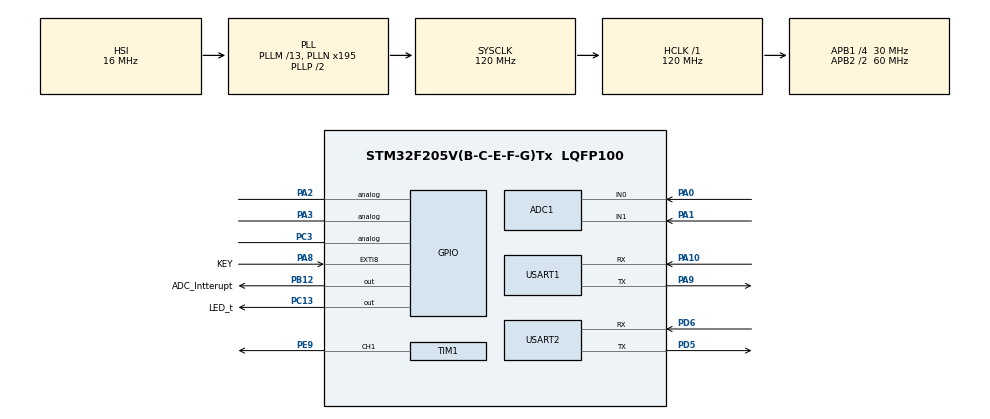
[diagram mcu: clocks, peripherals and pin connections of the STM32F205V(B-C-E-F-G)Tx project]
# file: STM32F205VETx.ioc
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ADC1.Channel-0\#ChannelRegularConversion=ADC_CHANNEL_0
ADC1.Channel-1\#ChannelRegularConversion=ADC_CHANNEL_1
ADC1.Channel-2\#ChannelRegularConversion=ADC_CHANNEL_TEMPSENSOR
ADC1.Channel-3\#ChannelRegularConversion=ADC_CHANNEL_VREFINT
ADC1.ClockPrescaler=ADC_CLOCK_SYNC_PCLK_DIV8
ADC1.ContinuousConvMode=DISABLE
ADC1.DMAContinuousRequests=ENABLE
ADC1.DiscontinuousConvMode=DISABLE
ADC1.ExternalTrigConv=ADC_EXTERNALTRIGCONV_T1_CC3
ADC1.InjNumberOfConversion=0
ADC1.NbrOfConversion=4
ADC1.NbrOfConversionFlag=1
ADC1.Rank-0\#ChannelRegularConversion=1
ADC1.Rank-1\#ChannelRegularConversion=2
ADC1.Rank-2\#ChannelRegularConversion=3
ADC1.Rank-3\#ChannelRegularConversion=4
ADC1.SamplingTime-0\#ChannelRegularConversion=ADC_SAMPLETIME_56CYCLES
ADC1.SamplingTime-1\#ChannelRegularConversion=ADC_SAMPLETIME_56CYCLES
ADC1.SamplingTime-2\#ChannelRegularConversion=ADC_SAMPLETIME_56CYCLES
ADC1.SamplingTime-3\#ChannelRegularConversion=ADC_SAMPLETIME_56CYCLES
ADC1.ScanConvMode=ENABLE
ADC1.master=1
Dma.ADC1.1.Direction=DMA_PERIPH_TO_MEMORY
Dma.ADC1.1.FIFOMode=DMA_FIFOMODE_DISABLE
Dma.ADC1.1.Instance=DMA2_Stream0
Dma.ADC1.1.MemDataAlignment=DMA_MDATAALIGN_WORD
Dma.ADC1.1.MemInc=DMA_MINC_ENABLE
Dma.ADC1.1.Mode=DMA_CIRCULAR
Dma.ADC1.1.PeriphDataAlignment=DMA_PDATAALIGN_WORD
Dma.ADC1.1.PeriphInc=DMA_PINC_DISABLE
Dma.ADC1.1.Priority=DMA_PRIORITY_LOW
Dma.Request0=USART1_RX
Dma.Request1=ADC1
Dma.Request2=USART1_TX
Dma.Request3=USART2_RX
Dma.Request4=USART2_TX
Dma.USART1_RX.0.Direction=DMA_PERIPH_TO_MEMORY
Dma.USART1_RX.0.FIFOMode=DMA_FIFOMODE_DISABLE
Dma.USART1_RX.0.Instance=DMA2_Stream2
Dma.USART1_RX.0.MemDataAlignment=DMA_MDATAALIGN_BYTE
Dma.USART1_RX.0.MemInc=DMA_MINC_ENABLE
Dma.USART1_RX.0.Mode=DMA_NORMAL
Dma.USART1_RX.0.PeriphDataAlignment=DMA_PDATAALIGN_BYTE
Dma.USART1_RX.0.PeriphInc=DMA_PINC_DISABLE
Dma.USART1_RX.0.Priority=DMA_PRIORITY_LOW
Dma.USART1_TX.2.Direction=DMA_MEMORY_TO_PERIPH
Dma.USART1_TX.2.FIFOMode=DMA_FIFOMODE_DISABLE
Dma.USART1_TX.2.Instance=DMA2_Stream7
Dma.USART1_TX.2.MemDataAlignment=DMA_MDATAALIGN_BYTE
Dma.USART1_TX.2.MemInc=DMA_MINC_ENABLE
Dma.USART1_TX.2.Mode=DMA_NORMAL
Dma.USART1_TX.2.PeriphDataAlignment=DMA_PDATAALIGN_BYTE
Dma.USART1_TX.2.PeriphInc=DMA_PINC_DISABLE
Dma.USART1_TX.2.Priority=DMA_PRIORITY_LOW
Dma.USART2_RX.3.Direction=DMA_PERIPH_TO_MEMORY
Dma.USART2_RX.3.FIFOMode=DMA_FIFOMODE_DISABLE
Dma.USART2_RX.3.Instance=DMA1_Stream5
Dma.USART2_RX.3.MemDataAlignment=DMA_MDATAALIGN_BYTE
Dma.USART2_RX.3.MemInc=DMA_MINC_ENABLE
Dma.USART2_RX.3.Mode=DMA_NORMAL
Dma.USART2_RX.3.PeriphDataAlignment=DMA_PDATAALIGN_BYTE
Dma.USART2_RX.3.PeriphInc=DMA_PINC_DISABLE
Dma.USART2_RX.3.Priority=DMA_PRIORITY_LOW
Dma.USART2_TX.4.Direction=DMA_MEMORY_TO_PERIPH
Dma.USART2_TX.4.FIFOMode=DMA_FIFOMODE_DISABLE
Dma.USART2_TX.4.Instance=DMA1_Stream6
Dma.USART2_TX.4.MemDataAlignment=DMA_MDATAALIGN_BYTE
Dma.USART2_TX.4.MemInc=DMA_MINC_ENABLE
Dma.USART2_TX.4.Mode=DMA_NORMAL
Dma.USART2_TX.4.PeriphDataAlignment=DMA_PDATAALIGN_BYTE
Dma.USART2_TX.4.PeriphInc=DMA_PINC_DISABLE
Dma.USART2_TX.4.Priority=DMA_PRIORITY_LOW
FREERTOS.Queues01=CmdQueue,16,uint16_t,0,Dynamic,NULL,NULL
FREERTOS.Tasks01=LEDTask,0,128,StartLEDTask,Default,NULL,Dynamic,NULL,NULL;UartSendTask,0,128,StartUartSendTask,Default,NULL,Dynamic,NULL,NULL;KeyTask,1,128,Key_Task,Default,NULL,Dynamic,NULL,NULL;UartReceiveTask,2,128,StartUartReceiveTask,Default,NULL,Dynamic,NULL,NULL;GetADC,0,128,StartGetADC,Default,NULL,Dynamic,NULL,NULL;PowerControl,2,128,StartPowerControl,Default,NULL,Dynamic,NULL,NULL
Mcu.Family=STM32F2
Mcu.Name=STM32F205V(B-C-E-F-G)Tx
Mcu.Package=LQFP100
NVIC.ADC_IRQn=true\:5\:0\:true\:false\:true\:true\:true\:true
NVIC.DMA1_Stream5_IRQn=true\:5\:0\:false\:false\:true\:true\:false\:true
NVIC.DMA1_Stream6_IRQn=true\:5\:0\:false\:false\:true\:true\:false\:true
NVIC.DMA2_Stream0_IRQn=true\:5\:0\:false\:false\:true\:true\:false\:true
NVIC.DMA2_Stream2_IRQn=true\:5\:0\:false\:false\:true\:true\:false\:true
NVIC.DMA2_Stream7_IRQn=true\:5\:0\:false\:false\:true\:true\:false\:true
NVIC.EXTI9_5_IRQn=true\:5\:0\:false\:false\:true\:true\:true\:true
NVIC.PriorityGroup=NVIC_PRIORITYGROUP_4
NVIC.TIM2_IRQn=true\:0\:0\:false\:false\:true\:false\:false\:true
NVIC.TimeBase=TIM2_IRQn
NVIC.TimeBaseIP=TIM2
NVIC.USART1_IRQn=true\:5\:0\:false\:false\:true\:true\:true\:true
NVIC.USART2_IRQn=true\:5\:0\:false\:false\:true\:true\:true\:true
PA0-WKUP.Signal=SharedAnalog_PA0
PA1.Signal=SharedAnalog_PA1
PA10.Mode=Asynchronous
PA10.Signal=USART1_RX
PA13.Mode=Serial_Wire
PA13.Signal=SYS_JTMS-SWDIO
PA14.Mode=Serial_Wire
PA14.Signal=SYS_JTCK-SWCLK
PA2.Signal=GPIO_Analog
PA3.Signal=GPIO_Analog
PA8.GPIO_Label=KEY
PA8.GPIO_ModeDefaultEXTI=GPIO_MODE_IT_RISING_FALLING
PA8.GPIO_PuPd=GPIO_PULLUP
PA8.Signal=GPXTI8
PA9.Mode=Asynchronous
PA9.Signal=USART1_TX
PB12.GPIO_Label=ADC_Intterupt
PB12.GPIO_PuPd=GPIO_PULLDOWN
PB12.GPIO_Speed=GPIO_SPEED_FREQ_MEDIUM
PB12.Signal=GPIO_Output
PC13.GPIO_Label=LED_t
PC13.GPIO_ModeDefaultOutputPP=GPIO_MODE_OUTPUT_PP
PC13.GPIO_PuPd=GPIO_PULLUP
PC13.Signal=GPIO_Output
PC14-OSC32_IN.Mode=LSE-External-Oscillator
PC14-OSC32_IN.Signal=RCC_OSC32_IN
PC15-OSC32_OUT.Mode=LSE-External-Oscillator
PC15-OSC32_OUT.Signal=RCC_OSC32_OUT
PC3.Signal=GPIO_Analog
PD5.Mode=Asynchronous
PD5.Signal=USART2_TX
PD6.Mode=Asynchronous
PD6.Signal=USART2_RX
PE9.Signal=S_TIM1_CH1
PH0-OSC_IN.Mode=HSE-External-Oscillator
PH0-OSC_IN.Signal=RCC_OSC_IN
PH1-OSC_OUT.Mode=HSE-External-Oscillator
PH1-OSC_OUT.Signal=RCC_OSC_OUT
ProjectManager.HeapSize=0x200
ProjectManager.StackSize=0x400
ProjectManager.TargetToolchain=MDK-ARM V5.27
RCC.48MHZClocksFreq_Value=60000000
RCC.AHBFreq_Value=120000000
RCC.APB1CLKDivider=RCC_HCLK_DIV4
RCC.APB1Freq_Value=30000000
RCC.APB1TimFreq_Value=60000000
RCC.APB2CLKDivider=RCC_HCLK_DIV2
RCC.APB2Freq_Value=60000000
RCC.APB2TimFreq_Value=120000000
RCC.CortexFreq_Value=120000000
RCC.HCLKFreq_Value=120000000
RCC.HSE_VALUE=8000000
RCC.HSI_VALUE=16000000
RCC.PLLM=13
RCC.PLLN=195
RCC.SYSCLKFreq_VALUE=120000000
RCC.SYSCLKSource=RCC_SYSCLKSOURCE_PLLCLK
RCC.VCOOutputFreq_Value=240000000
SH.S_TIM1_CH1.0=TIM1_CH1,PWM Generation1 CH1
SH.SharedAnalog_PA0.0=GPIO_Analog
SH.SharedAnalog_PA0.1=ADC1_IN0,IN0
SH.SharedAnalog_PA1.0=GPIO_Analog
SH.SharedAnalog_PA1.1=ADC1_IN1,IN1
TIM1.AutoReloadPreload=TIM_AUTORELOAD_PRELOAD_DISABLE
TIM1.Channel-PWM\ Generation1\ CH1=TIM_CHANNEL_1
TIM1.Channel-PWM\ Generation3\ No\ Output=TIM_CHANNEL_3
TIM1.Period=12000
TIM1.Prescaler=0
TIM1.Pulse-PWM\ Generation1\ CH1=0
TIM1.Pulse-PWM\ Generation3\ No\ Output=6000
USART1.VirtualMode=VM_ASYNC
USART2.VirtualMode=VM_ASYNC
VP_ADC1_TempSens_Input.Mode=IN-TempSens
VP_ADC1_Vref_Input.Mode=IN-Vrefint
VP_FREERTOS_VS_CMSIS_V1.Mode=CMSIS_V1
VP_SYS_VS_tim2.Mode=TIM2
VP_TIM1_VS_ClockSourceINT.Mode=Internal
VP_TIM1_VS_no_output3.Mode=PWM Generation3 No Output
board=custom

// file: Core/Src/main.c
/* USER CODE BEGIN Header */
/**
  ******************************************************************************
  * @file           : main.c
  * @brief          : Main program body
  ******************************************************************************
  * @attention
  *
  * <h2><center>&copy; Copyright (c) 2022 STMicroelectronics.
  * All rights reserved.</center></h2>
  *
  * This software component is licensed by ST under Ultimate Liberty license
  * SLA0044, the "License"; You may not use this file except in compliance with
  * the License. You may obtain a copy of the License at:
  *                             www.st.com/SLA0044
  *
  ******************************************************************************
  */
/* USER CODE END Header */
#include "main.h"
#include "cmsis_os.h"
#include "adc.h"
#include "dma.h"
#include "tim.h"
#include "usart.h"
#include "gpio.h"

void SystemClock_Config(void);
void MX_FREERTOS_Init(void);

/* USER CODE BEGIN 0 */

SemaphoreHandle_t  xSemaphore = NULL;
static void AppObjCreate (void)
{
    xSemaphore = xSemaphoreCreateBinary();
}

/* USER CODE END 0 */

int main(void)
{

  /* MCU Configuration--------------------------------------------------------*/

  /* Reset of all peripherals, Initializes the Flash interface and the Systick. */
  HAL_Init();

  /* Configure the system clock */
  SystemClock_Config();

  /* Initialize all configured peripherals */
  MX_GPIO_Init();
  MX_DMA_Init();
  MX_USART1_UART_Init();
  MX_ADC1_Init();
  MX_USART2_UART_Init();
  MX_TIM1_Init();
  /* USER CODE BEGIN 2 */
    HAL_ADC_Start_DMA(&hadc1,ADC1_Buf,ADC1_CHANNEL_CNT * ADC1_Filter_Num);  //DMA 数组大小为ADC1的通道数乘以ADC1需要滤波的数据量
    HAL_TIM_PWM_Start(&htim1,TIM_CHANNEL_3);
    HAL_TIM_PWM_Start(&htim1,TIM_CHANNEL_1);
//   HAL_UART_Receive_IT(&huart1,recv_buf,1);
    HAL_UART_Receive_DMA(&huart1, UART_RX_BUF, UART_RX_LEN);  // 启动DMA接收
    __HAL_UART_ENABLE_IT(&huart1, UART_IT_IDLE);              // 使能空闲中断

//		HAL_UART_Receive_DMA(&huart2, UART_RX_BUF, UART_RX_LEN);  // 启动DMA接收
//		__HAL_UART_ENABLE_IT(&huart2, UART_IT_IDLE);              // 使能空闲中断

    AppObjCreate();
    EMLOG(LOG_DEBUG,"初始化完成");
    EMLOG(LOG_DEBUG,"%s",UART_RX_BUF);

  /* USER CODE END 2 */

  /* Call init function for freertos objects (in freertos.c) */
  MX_FREERTOS_Init();
  /* Start scheduler */
  osKernelStart();

  /* We should never get here as control is now taken by the scheduler */
  /* Infinite loop */
    while (1)
    {

    }
}

void SystemClock_Config(void)
{
  RCC_OscInitTypeDef RCC_OscInitStruct = {0};
  RCC_ClkInitTypeDef RCC_ClkInitStruct = {0};

  /** Initializes the RCC Oscillators according to the specified parameters
  * in the RCC_OscInitTypeDef structure.
  */
  RCC_OscInitStruct.OscillatorType = RCC_OSCILLATORTYPE_HSI;
  RCC_OscInitStruct.HSIState = RCC_HSI_ON;
  RCC_OscInitStruct.HSICalibrationValue = RCC_HSICALIBRATION_DEFAULT;
  RCC_OscInitStruct.PLL.PLLState = RCC_PLL_ON;
  RCC_OscInitStruct.PLL.PLLSource = RCC_PLLSOURCE_HSI;
  RCC_OscInitStruct.PLL.PLLM = 13;
  RCC_OscInitStruct.PLL.PLLN = 195;
  RCC_OscInitStruct.PLL.PLLP = RCC_PLLP_DIV2;
  RCC_OscInitStruct.PLL.PLLQ = 4;
  if (HAL_RCC_OscConfig(&RCC_OscInitStruct) != HAL_OK)
  {
    Error_Handler();
  }
  /** Initializes the CPU, AHB and APB buses clocks
  */
  RCC_ClkInitStruct.ClockType = RCC_CLOCKTYPE_HCLK|RCC_CLOCKTYPE_SYSCLK
                              |RCC_CLOCKTYPE_PCLK1|RCC_CLOCKTYPE_PCLK2;
  RCC_ClkInitStruct.SYSCLKSource = RCC_SYSCLKSOURCE_PLLCLK;
  RCC_ClkInitStruct.AHBCLKDivider = RCC_SYSCLK_DIV1;
  RCC_ClkInitStruct.APB1CLKDivider = RCC_HCLK_DIV4;
  RCC_ClkInitStruct.APB2CLKDivider = RCC_HCLK_DIV2;

  if (HAL_RCC_ClockConfig(&RCC_ClkInitStruct, FLASH_LATENCY_3) != HAL_OK)
  {
    Error_Handler();
  }
}

 /**
  * @brief  Period elapsed callback in non blocking mode
  * @note   This function is called  when TIM2 interrupt took place, inside
  * HAL_TIM_IRQHandler(). It makes a direct call to HAL_IncTick() to increment
  * a global variable "uwTick" used as application time base.
  * @param  htim : TIM handle
  * @retval None
  */
void HAL_TIM_PeriodElapsedCallback(TIM_HandleTypeDef *htim)
{
  if (htim->Instance == TIM2) {
    HAL_IncTick();
  }
}

void Error_Handler(void)
{
    __disable_irq();
    while (1)
    {
    }
}

/************************ (C) COPYRIGHT STMicroelectronics *****END OF FILE****/

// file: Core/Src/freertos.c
/* USER CODE BEGIN Header */
/**
  ******************************************************************************
  * File Name          : freertos.c
  * Description        : Code for freertos applications
  ******************************************************************************
  * @attention
  *
  * <h2><center>&copy; Copyright (c) 2022 STMicroelectronics.
  * All rights reserved.</center></h2>
  *
  * This software component is licensed by ST under Ultimate Liberty license
  * SLA0044, the "License"; You may not use this file except in compliance with
  * the License. You may obtain a copy of the License at:
  *                             www.st.com/SLA0044
  *
  ******************************************************************************
  */
/* USER CODE END Header */

#include "FreeRTOS.h"
#include "task.h"
#include "main.h"
#include "cmsis_os.h"

/* USER CODE BEGIN Includes */
#include "gpio.h"
#include "usart.h"
#include "ADC.h"
#include "string.h"
/* USER CODE END Includes */

osThreadId LEDTaskHandle;
osThreadId UartSendTaskHandle;
osThreadId KeyTaskHandle;
osThreadId UartReceiveTaskHandle;
osThreadId GetADCHandle;
osMessageQId CmdQueueHandle;

void StartLEDTask(void const * argument);
void StartUartSendTask(void const * argument);
void Key_Task(void const * argument);
void StartUartReceiveTask(void const * argument);
void StartGetADC(void const * argument);

void MX_FREERTOS_Init(void); /* (MISRA C 2004 rule 8.1) */

/* GetIdleTaskMemory prototype (linked to static allocation support) */
void vApplicationGetIdleTaskMemory( StaticTask_t **ppxIdleTaskTCBBuffer, StackType_t **ppxIdleTaskStackBuffer, uint32_t *pulIdleTaskStackSize );

/* USER CODE BEGIN GET_IDLE_TASK_MEMORY */
static StaticTask_t xIdleTaskTCBBuffer;
static StackType_t xIdleStack[configMINIMAL_STACK_SIZE];

void vApplicationGetIdleTaskMemory( StaticTask_t **ppxIdleTaskTCBBuffer, StackType_t **ppxIdleTaskStackBuffer, uint32_t *pulIdleTaskStackSize )
{
    *ppxIdleTaskTCBBuffer = &xIdleTaskTCBBuffer;
    *ppxIdleTaskStackBuffer = &xIdleStack[0];
    *pulIdleTaskStackSize = configMINIMAL_STACK_SIZE;
    /* place for user code */
}
/* USER CODE END GET_IDLE_TASK_MEMORY */

void MX_FREERTOS_Init(void) {

  /* Create the queue(s) */
  /* definition and creation of CmdQueue */
  osMessageQDef(CmdQueue, 16, uint16_t);
  CmdQueueHandle = osMessageCreate(osMessageQ(CmdQueue), NULL);

  /* Create the thread(s) */
  /* definition and creation of LEDTask */
  osThreadDef(LEDTask, StartLEDTask, osPriorityNormal, 0, 128);
  LEDTaskHandle = osThreadCreate(osThread(LEDTask), NULL);

  /* definition and creation of UartSendTask */
  osThreadDef(UartSendTask, StartUartSendTask, osPriorityNormal, 0, 128);
  UartSendTaskHandle = osThreadCreate(osThread(UartSendTask), NULL);

  /* definition and creation of KeyTask */
  osThreadDef(KeyTask, Key_Task, osPriorityAboveNormal, 0, 128);
  KeyTaskHandle = osThreadCreate(osThread(KeyTask), NULL);

  /* definition and creation of UartReceiveTask */
  osThreadDef(UartReceiveTask, StartUartReceiveTask, osPriorityHigh, 0, 128);
  UartReceiveTaskHandle = osThreadCreate(osThread(UartReceiveTask), NULL);

  /* definition and creation of GetADC */
  osThreadDef(GetADC, StartGetADC, osPriorityNormal, 0, 128);
  GetADCHandle = osThreadCreate(osThread(GetADC), NULL);

}

void StartLEDTask(void const * argument)
{
  /* USER CODE BEGIN StartLEDTask */
    /* Infinite loop */
    for(;;)
    {
        HAL_GPIO_TogglePin(LED_t_GPIO_Port,LED_t_Pin);

        osDelay(1000);
    }
  /* USER CODE END StartLEDTask */
}

void StartUartSendTask(void const * argument)
{
  /* USER CODE BEGIN StartUartSendTask */
    uint8_t AT_get_time[50] = "AT+UPDATETIME=1,time.windows.com,10,\"E8\",0\r\n";

    /* Infinite loop */
    for(;;)
    {
//    osDelay(1000);//等待1秒
//    osMessagePut(CmdQueueHandle, 1, 0);//发送消息1

        HAL_UART_Transmit_DMA(&huart2, (uint8_t*)AT_get_time,  sizeof(AT_get_time));  //发送命令

        osDelay(1000);//等待1秒
//    osMessagePut(CmdQueueHandle, 2, 0);//发送消息2
    }
  /* USER CODE END StartUartSendTask */
}

void Key_Task(void const * argument)
{
  /* USER CODE BEGIN Key_Task */
    /* Infinite loop */
    for(;;)
    {
        if(KeyState == KEY_DOWN) {
            vTaskSuspend(LEDTaskHandle);
            vTaskSuspend(GetADCHandle);

            KeyState = KEY_UNKNOW;
        } else if(KeyState == KEY_UP) {
            vTaskResume(LEDTaskHandle);

            vTaskResume(GetADCHandle);
            KeyState = KEY_UNKNOW;
            // printf("Key_Task\n");
        }
        osDelay(1000);
    }
  /* USER CODE END Key_Task */
}

void StartUartReceiveTask(void const * argument)
{
  /* USER CODE BEGIN StartUartReceiveTask */
    //osEvent theEvent;//声明一个事件

    //uint32_t test = 1;
    /* Infinite loop */
    for(;;)
    {
        //	printf("tw %d\n",test);

        //test = scanf("%d",&test);
        //  EMLOG(LOG_DEBUG,"串口接收任务运行中\n");

        if(UART_RX_STA & 0X8000)
        {
            //	HAL_UART_Transmit(&huart1, UART_RX_BUF, UART_RX_STA & 0X7FFF, 100);    // 将接收到的数据发送回去

            //	EMLOG(LOG_DEBUG,"%d\n",strcmp("AT\n",(char *)UART_RX_BUF ));
            if(0 == strcmp("AT\r\n",(char *)UART_RX_BUF ))
            {
                printf("OK\n");
                EMLOG(LOG_DEBUG,"收到%s\n",UART_RX_BUF);

            }
            else if(0 == strcmp("AT+GetADC1CH0\r\n",(char *)UART_RX_BUF ))
            {
                printf("ADC1CH0 = %.3f\n",Get_ADC_Voltage(ADC1_In0_Buf,ADC1_CHANNEL_IN0));

            }
            else if(0 == strcmp("AT+GetADC1CH1\r\n",(char *)UART_RX_BUF ))
            {
                printf("ADC1CH1 = %.3f\n",Get_ADC_Voltage(ADC1_In0_Buf,ADC1_CHANNEL_IN1));

            }

         //   HAL_UART_Transmit_DMA(&huart1, (uint8_t*)UART_RX_BUF,  UART_RX_STA & 0X7FFF);  //回显

            UART_RX_STA = 0;
        }

        //	printf("Receive message %d\n",test);
        osDelay(1);

//		theEvent = osMessageGet(CmdQueueHandle, osWaitForever);
//      if(theEvent.status == osEventMessage)
//      {
//          printf("Receive message %d\n",theEvent.value.v);
//      }
    }
  /* USER CODE END StartUartReceiveTask */
}

void StartGetADC(void const * argument)
{
  /* USER CODE BEGIN StartGetADC */
//				  static double V_In0 = 0,S = 0;
//			  static uint32_t i = 0;
    /* Infinite loop */
    for(;;)
    {
        printf("CH0 vol = %.3f  \n",Get_ADC_Voltage(ADC1_In0_Buf,ADC1_CHANNEL_IN0));

        printf("CH1 vol = %.3f  \n",Get_ADC_Voltage(ADC1_In1_Buf,ADC1_CHANNEL_IN1));

        osDelay(1000);
    }
  /* USER CODE END StartGetADC */
}

/************************ (C) COPYRIGHT STMicroelectronics *****END OF FILE****/
